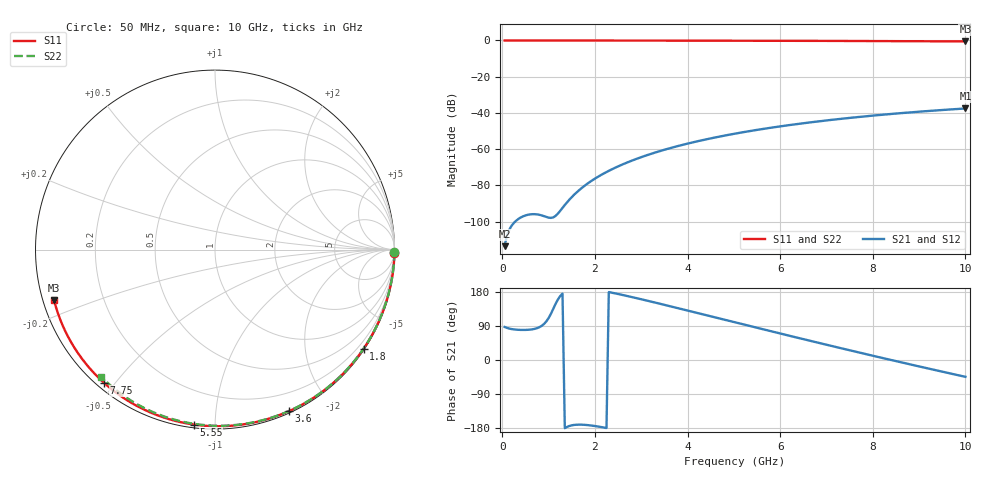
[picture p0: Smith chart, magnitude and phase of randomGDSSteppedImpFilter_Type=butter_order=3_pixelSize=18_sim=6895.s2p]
! freq	dB(S11)	phase(S11)	dB(S12)	phase(S12)
!  dB(S21)	phase(S21)	dB(S22)	phase(S22)
!S-par simulation data
#  GHz  S  DB  R 50
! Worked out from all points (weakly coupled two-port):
!   200 points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, 50 MHz to 10 GHz, reference 50 ohm
!   highest |S21| = -37.55 dB at 10 GHz (marker M1); lowest = -113.6 dB at 50 MHz (marker M2)
!   lowest |S11| = -0.5 dB at 10 GHz (marker M3), VSWR 32.26, Z = 1.59 - j7.61 ohm
!   |S11| at or under -10 dB: nowhere
!   |S22| runs from -0.4 to 0.0 dB; largest |S21 - S12| = 0
!   S11 on the Smith chart (normalised r, x): 50 MHz: open; 1.8 GHz: 0.03, -3.31; 3.6 GHz: 0.02, -1.56; 5.55 GHz: 0.02, -0.89; 7.75 GHz: 0.02, -0.47; 10 GHz: 0.03, -0.15
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0.05  -0.00 -1.0  -113.57 87.2  -113.57 87.2  -0.00 -0.8
0.45  -0.01 -8.6  -97.10 79.3  -97.10 79.3  -0.01 -6.8
0.85  -0.02 -16.1  -96.57 90.1  -96.57 90.1  -0.02 -12.9
1.3  -0.03 -24.5  -92.44 175.3  -92.44 175.3  -0.02 -19.6
1.75  -0.04 -32.7  -80.75 -170.9  -80.75 -170.9  -0.03 -26.2
1.8  -0.04 -33.7  -79.77 -171.3  -79.77 -171.3  -0.03 -27.0
1.95  -0.05 -36.4  -77.11 -173.3  -77.11 -173.3  -0.04 -29.2
2.1  -0.05 -39.1  -74.75 -176.2  -74.75 -176.2  -0.04 -31.4
2.3  -0.05 -42.7  -71.98 179.3  -71.98 179.3  -0.04 -34.3
2.5  -0.06 -46.3  -69.53 174.2  -69.53 174.2  -0.05 -37.2
2.9  -0.07 -53.3  -65.36 163.2  -65.36 163.2  -0.06 -42.9
3.4  -0.08 -62.0  -61.10 148.6  -61.10 148.6  -0.07 -50.0
3.6  -0.09 -65.4  -59.62 142.6  -59.62 142.6  -0.07 -52.8
4.3  -0.11 -77.0  -55.17 121.4  -55.17 121.4  -0.09 -62.3
5.05  -0.14 -89.1  -51.33 98.6  -51.33 98.6  -0.11 -72.3
5.55  -0.16 -96.9  -49.17 83.5  -49.17 83.5  -0.13 -78.8
6.1  -0.19 -105.3  -47.07 66.9  -47.07 66.9  -0.15 -85.8
6.7  -0.22 -114.3  -45.06 49.1  -45.06 49.1  -0.18 -93.2
7.75  -0.30 -129.8  -42.11 18.4  -42.11 18.4  -0.24 -105.8
8.35  -0.35 -138.5  -40.69 1.3  -40.69 1.3  -0.29 -112.9
9.2  -0.44 -150.8  -38.94 -22.5  -38.94 -22.5  -0.36 -122.6
10  -0.54 -162.7  -37.55 -44.4  -37.55 -44.4  -0.44 -131.7
